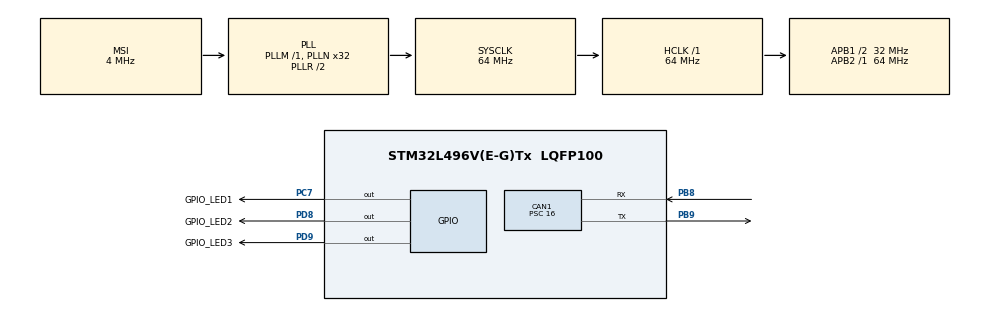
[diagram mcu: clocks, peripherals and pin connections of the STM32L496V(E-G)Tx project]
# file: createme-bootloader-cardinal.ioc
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CAN1.ABOM=ENABLE
CAN1.AWUM=DISABLE
CAN1.BS1=CAN_BS1_13TQ
CAN1.BS2=CAN_BS2_2TQ
CAN1.CalculateBaudRate=125000
CAN1.CalculateTimeBit=8000
CAN1.CalculateTimeQuantum=500.0
CAN1.Mode=CAN_MODE_NORMAL
CAN1.NART=DISABLE
CAN1.Prescaler=16
CAN1.RFLM=DISABLE
CAN1.SJW=CAN_SJW_1TQ
CAN1.TTCM=DISABLE
CAN1.TXFP=DISABLE
CRC.DefaultInitValueUse=DEFAULT_INIT_VALUE_ENABLE
CRC.DefaultPolynomialUse=DEFAULT_POLYNOMIAL_ENABLE
CRC.InputDataFormat=CRC_INPUTDATA_FORMAT_BYTES
CRC.InputDataInversionMode=CRC_INPUTDATA_INVERSION_NONE
CRC.OutputDataInversionMode=CRC_OUTPUTDATA_INVERSION_DISABLE
Mcu.Family=STM32L4
Mcu.Name=STM32L496V(E-G)Tx
Mcu.Package=LQFP100
NVIC.CAN1_RX0_IRQn=true\:0\:0\:false\:false\:true\:true\:true\:true
NVIC.CAN1_TX_IRQn=true\:0\:0\:false\:false\:true\:true\:true\:true
NVIC.PriorityGroup=NVIC_PRIORITYGROUP_4
NVIC.TIM1_TRG_COM_TIM17_IRQn=true\:0\:0\:false\:false\:true\:true\:true\:true
PA13\ (JTMS/SWDIO).Mode=Trace_Asynchronous_SW
PA13\ (JTMS/SWDIO).Signal=SYS_JTMS-SWDIO
PA14\ (JTCK/SWCLK).Mode=Trace_Asynchronous_SW
PA14\ (JTCK/SWCLK).Signal=SYS_JTCK-SWCLK
PB3\ (JTDO/TRACESWO).Mode=Trace_Asynchronous_SW
PB3\ (JTDO/TRACESWO).Signal=SYS_JTDO-SWO
PB8.Mode=CAN_Activate
PB8.Signal=CAN1_RX
PB9.Mode=CAN_Activate
PB9.Signal=CAN1_TX
PC7.GPIO_Label=GPIO_LED1
PC7.Signal=GPIO_Output
PD8.GPIO_Label=GPIO_LED2
PD8.Signal=GPIO_Output
PD9.GPIO_Label=GPIO_LED3
PD9.Signal=GPIO_Output
ProjectManager.HeapSize=0x200
ProjectManager.StackSize=0x400
ProjectManager.TargetToolchain=STM32CubeIDE
RCC.AHBFreq_Value=64000000
RCC.APB1CLKDivider=RCC_HCLK_DIV2
RCC.APB1Freq_Value=32000000
RCC.APB1TimFreq_Value=64000000
RCC.APB2Freq_Value=64000000
RCC.APB2TimFreq_Value=64000000
RCC.CortexFreq_Value=64000000
RCC.FLatency=FLASH_LATENCY_3
RCC.HCLKFreq_Value=64000000
RCC.HSE_VALUE=8000000
RCC.HSI48_VALUE=48000000
RCC.HSICalibrationValue=16
RCC.HSI_VALUE=16000000
RCC.LSE_VALUE=32768
RCC.MSI_VALUE=4000000
RCC.PLLN=32
RCC.PREFETCH_ENABLE=1
RCC.SYSCLKFreq_VALUE=64000000
RCC.SYSCLKSource=RCC_SYSCLKSOURCE_PLLCLK
RCC.VCOOutputFreq_Value=128000000
TIM17.AutoReloadPreload=TIM_AUTORELOAD_PRELOAD_ENABLE
TIM17.ClockDivision=TIM_CLOCKDIVISION_DIV2
TIM17.CounterMode=TIM_COUNTERMODE_UP
TIM17.Period=32000
TIM17.Prescaler=1
TIM17.RepetitionCounter=0
VP_CRC_VS_CRC.Mode=CRC_Activate
VP_TIM17_VS_ClockSourceINT.Mode=Enable_Timer
board=BOOT

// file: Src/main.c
/* USER CODE BEGIN Header */
/**
  ******************************************************************************
  * @file           : main.c
  * @brief          : Main program body
  ******************************************************************************
  * @attention
  *
  * Copyright (c) 2022 STMicroelectronics.
  * All rights reserved.
  *
  * This software is licensed under terms that can be found in the LICENSE file
  * in the root directory of this software component.
  * If no LICENSE file comes with this software, it is provided AS-IS.
  *
  ******************************************************************************
  */
/* USER CODE END Header */
#include "main.h"

/* USER CODE BEGIN Includes */
/*

		Flash memory organisation

       0x08100000 -> +-------------+
					 | 0x080C0000  |	\
					 |    to       |	 \
					 | 0x080FFFFF  |	  |- Reserved for checksum and other informations
					 |   256 KB    |	 /
					 | data        |	/
       0x080C0000 -> +-------------+
					 |             |	\
					 |             |	 \
					 |             |	  |
					 |             |	  |
					 | 0x08080000  |	  |
					 |    to       |	  |
					 | 0x080BFFFF  |	  |- Contain the golden image application software
					 |   256 KB    |	  |
					 | application |	  |
					 |             |	  |
					 |             |	  |
					 |             |	 /
					 |             |	/
       0x08080000 -> +-------------+
					 |             |	\
					 |             |	 \
					 |             |	  |
					 |             |	  |
					 | 0x08040000  |	  |
					 |    to       |	  |
					 | 0x0807FFFF  |	  |- Contain the application software
					 |   256 KB    |	  |
					 | application |	  |
					 |             |	  |
					 |             |	  |
					 |             |	 /
					 |             |	/
       0x08040000 -> +-------------+
					 |             |	\
					 | 0x08000000  |	 \
					 |    to       |	  |
					 | 0x08037FFF  |	  |- Contain bootloader software (this project)
					 |   256 KB    |	  |
					 | bootloader  |	 /
					 |             |	/
		0x8000000 -> +-------------+

Bootloader version 1.0.0 CRC32 = 0xC2106B18

 */
#include <string.h>
#include "btld.h"
/* USER CODE END Includes */

 CAN_HandleTypeDef hcan1;

CRC_HandleTypeDef hcrc;

TIM_HandleTypeDef htim17;

/* USER CODE BEGIN PV */
/* Private variables ---------------------------------------------------------*/

#define TRUE 1
#define FALSE 0
#define G_MAX_MS_COUNTER 4294967296

uint32_t G_mSCounter = 0;

uint8_t G_loader_mode = 0;
uint8_t G_flash_erase_CMD = 0;
uint8_t G_run_app_CMD = 0;
uint8_t G_return_CRC_CMD = 0;
uint8_t G_return_GI_CRC_CMD = 0;
uint8_t G_return_BOOT_CRC_CMD = 0;

uint8_t G_start_flash_CMD = 0;
uint8_t G_write_next_CMD = 0;
uint32_t G_uint32_to_write = 0;
uint8_t G_end_flash_CMD = 0;
uint8_t G_FlashInProgress = 0;
uint8_t G_copy_flash_CMD = 0;

uint8_t G_LedUpdate = 0;

uint32_t G_index = 0;

CAN_TxHeaderTypeDef   TxHeader;
CAN_RxHeaderTypeDef   RxHeader;
uint8_t               TxData[8];
uint8_t               RxData[8];
uint32_t              TxMailbox;

/* USER CODE END PV */

void SystemClock_Config(void);
static void MX_GPIO_Init(void);
static void MX_TIM17_Init(void);
static void MX_CAN1_Init(void);
static void MX_CRC_Init(void);
/* USER CODE BEGIN PFP */
/* Private function prototypes -----------------------------------------------*/
void config_can_filter(void);
void CAN_TX_Cplt(CAN_HandleTypeDef* phcan);

void send_confirm_msg(uint8_t status);

/* USER CODE END PFP */

int main_BTLD(void)
{

  /* MCU Configuration--------------------------------------------------------*/

  /* Reset of all peripherals, Initializes the Flash interface and the Systick. */
  HAL_Init();

  /* Configure the system clock */
  SystemClock_Config();

  /* Initialize all configured peripherals */
  MX_GPIO_Init();
  MX_TIM17_Init();
  MX_CAN1_Init();
  MX_CRC_Init();
  /* USER CODE BEGIN 2 */

  /* Configura CAN RX FILTER */
  config_can_filter();

  /* Start CAN recieve Interrupt */
  HAL_CAN_Start(&hcan1);
  HAL_CAN_ActivateNotification(&hcan1,CAN_IT_TX_MAILBOX_EMPTY |
                                      CAN_IT_RX_FIFO0_MSG_PENDING |
                                      CAN_IT_RX_FIFO0_FULL |
                                      CAN_IT_RX_FIFO0_OVERRUN |
                                      CAN_IT_ERROR);

  HAL_TIM_Base_Start_IT(&htim17); // 1mS
  /* USER CODE END 2 */

  /* Infinite loop */
  /* USER CODE BEGIN WHILE */

//    if(btld_CheckForApplication()==BL_NO_APP){
        G_loader_mode=1;
//    }

  while (1)
  {
      /* Loader Mode */
      if(G_loader_mode)
      {
          /* Erase Main App flash partition */
          if(G_flash_erase_CMD)
          {
              if (btld_EraseFlash() == HAL_OK)
              {   /* Erase Success */
                  TxData[1] = 0x01;
              }
              else
              {   /* Erase failed */
                  TxData[1] = 0xFF;
              }
              //Send CAN message to know we are in loader mode
              TxHeader.StdId = STDID_CANID + CANTX_SA;
              TxHeader.IDE = CAN_ID_STD;
              TxHeader.RTR = CAN_RTR_DATA;
              TxHeader.DLC = 2;
              TxData[0] = 0xF1;
              HAL_CAN_AddTxMessage(&hcan1, &TxHeader, TxData, &TxMailbox);

              G_flash_erase_CMD=0;
          }

          /* Run Application command */
          if(G_run_app_CMD)
          {
              if(btld_CheckForApplication()==BL_OK)
              {
                  btld_JumpToApp();
              }
              else
              {
                  //Send CAN message to know we are in loader mode
                  TxHeader.StdId = STDID_CANID + CANTX_SA;
                  TxHeader.IDE = CAN_ID_STD;
                  TxHeader.RTR = CAN_RTR_DATA;
                  TxHeader.DLC = 2;
                  TxData[0] = 0xF2;
                  TxData[1] = 0xFF;
                  HAL_CAN_AddTxMessage(&hcan1, &TxHeader, TxData, &TxMailbox);

                  G_run_app_CMD = 0;
              }
          }

          /* Calculate and send Main App CRC */
          if(G_return_CRC_CMD)
          {
              uint32_t checksum = btld_GetChecksum();

              TxHeader.StdId = STDID_CANID + CANTX_SA;
              TxHeader.IDE = CAN_ID_STD;
              TxHeader.RTR = CAN_RTR_DATA;
              TxHeader.DLC = 5;
              TxData[0] = 0xF4;
              TxData[1] = (checksum & 0xFF000000) >> 24;
              TxData[2] = (checksum & 0x00FF0000) >> 16;
              TxData[3] = (checksum & 0x0000FF00) >> 8;
              TxData[4] = (checksum & 0x000000FF);
              HAL_CAN_AddTxMessage(&hcan1, &TxHeader, TxData, &TxMailbox);

              G_return_CRC_CMD = 0;
          }

          /* Calculate and send golden image CRC */
          if (G_return_GI_CRC_CMD)
          {
              uint32_t checksum = btld_GetGIChecksum();

              TxHeader.StdId = STDID_CANID + CANTX_SA;
              TxHeader.IDE = CAN_ID_STD;
              TxHeader.RTR = CAN_RTR_DATA;
              TxHeader.DLC = 5;
              TxData[0] = 0xF9;
              TxData[1] = (checksum & 0xFF000000) >> 24;
              TxData[2] = (checksum & 0x00FF0000) >> 16;
              TxData[3] = (checksum & 0x0000FF00) >> 8;
              TxData[4] = (checksum & 0x000000FF);
              HAL_CAN_AddTxMessage(&hcan1, &TxHeader, TxData, &TxMailbox);

              G_return_GI_CRC_CMD = 0;
          }

          /* Calculate and send bootloader CRC */
          if (G_return_BOOT_CRC_CMD)
          {
              uint32_t checksum = btld_GetBootChecksum();

              TxHeader.StdId = STDID_CANID + CANTX_SA;
              TxHeader.IDE = CAN_ID_STD;
              TxHeader.RTR = CAN_RTR_DATA;
              TxHeader.DLC = 5;
              TxData[0] = 0xFA;
              TxData[1] = (checksum & 0xFF000000) >> 24;
              TxData[2] = (checksum & 0x00FF0000) >> 16;
              TxData[3] = (checksum & 0x0000FF00) >> 8;
              TxData[4] = (checksum & 0x000000FF);
              HAL_CAN_AddTxMessage(&hcan1, &TxHeader, TxData, &TxMailbox);

              G_return_BOOT_CRC_CMD = 0;
          }

          if (G_start_flash_CMD)
          {
              btld_FlashBegin();
              G_FlashInProgress = 1;
              /* Send success */
              TxHeader.StdId = STDID_CANID + CANTX_SA;
              TxHeader.IDE = CAN_ID_STD;
              TxHeader.RTR = CAN_RTR_DATA;
              TxHeader.DLC = 2;
              TxData[0] = 0xF5;
              TxData[1] = 0x00;
              HAL_CAN_AddTxMessage(&hcan1, &TxHeader, TxData, &TxMailbox);

              G_start_flash_CMD = 0;
          }

          if (G_end_flash_CMD && G_FlashInProgress)
          {

              btld_FlashEnd();
              G_FlashInProgress = 0;
              /* Send success */
              TxHeader.StdId = STDID_CANID + CANTX_SA;
              TxHeader.IDE = CAN_ID_STD;
              TxHeader.RTR = CAN_RTR_DATA;
              TxHeader.DLC = 2;
              TxData[0] = 0xF5;
              TxData[1] = 0x00;
              HAL_CAN_AddTxMessage(&hcan1, &TxHeader, TxData, &TxMailbox);

              G_end_flash_CMD = 0;
          }

          /* copy golden image to Main App parition */
          if (G_copy_flash_CMD)
          {
              if (btld_CopyFlash() == HAL_OK)
              {   /* copy Success */
                  TxData[1] = 0x01;
              }
              else
              {   /* copy failed */
                  TxData[1] = 0xFF;
              }
              //Send CAN message to know we are in loader mode
              TxHeader.StdId = STDID_CANID + CANTX_SA;
              TxHeader.IDE = CAN_ID_STD;
              TxHeader.RTR = CAN_RTR_DATA;
              TxHeader.DLC = 2;
              TxData[0] = 0xF8;
              HAL_CAN_AddTxMessage(&hcan1, &TxHeader, TxData, &TxMailbox);

              G_copy_flash_CMD = 0;
          }

          // LED CONTROL
          if (G_LedUpdate)
          {
              HAL_GPIO_TogglePin(GPIO_LED1_GPIO_Port, GPIO_LED1_Pin);

              G_LedUpdate = 0;
          }
      }
      else
      {
          /* Jump to app if timeout*/
          if(G_mSCounter > 50)
          {
              if (btld_CheckForApplication() == BL_OK)
              {
                  btld_JumpToApp();
              }
              else
              {
                  btld_JumpToGoldenImage();
              }
          }
      }

    /* USER CODE END WHILE */

  }
}

void SystemClock_Config(void)
{
  RCC_OscInitTypeDef RCC_OscInitStruct = {0};
  RCC_ClkInitTypeDef RCC_ClkInitStruct = {0};

  /** Configure the main internal regulator output voltage
  */
  if (HAL_PWREx_ControlVoltageScaling(PWR_REGULATOR_VOLTAGE_SCALE1) != HAL_OK)
  {
    Error_Handler();
  }

  /** Initializes the RCC Oscillators according to the specified parameters
  * in the RCC_OscInitTypeDef structure.
  */
  RCC_OscInitStruct.OscillatorType = RCC_OSCILLATORTYPE_MSI;
  RCC_OscInitStruct.MSIState = RCC_MSI_ON;
  RCC_OscInitStruct.MSICalibrationValue = 0;
  RCC_OscInitStruct.MSIClockRange = RCC_MSIRANGE_6;
  RCC_OscInitStruct.PLL.PLLState = RCC_PLL_ON;
  RCC_OscInitStruct.PLL.PLLSource = RCC_PLLSOURCE_MSI;
  RCC_OscInitStruct.PLL.PLLM = 1;
  RCC_OscInitStruct.PLL.PLLN = 32;
  RCC_OscInitStruct.PLL.PLLP = RCC_PLLP_DIV2;
  RCC_OscInitStruct.PLL.PLLQ = RCC_PLLQ_DIV2;
  RCC_OscInitStruct.PLL.PLLR = RCC_PLLR_DIV2;
  if (HAL_RCC_OscConfig(&RCC_OscInitStruct) != HAL_OK)
  {
    Error_Handler();
  }

  /** Initializes the CPU, AHB and APB buses clocks
  */
  RCC_ClkInitStruct.ClockType = RCC_CLOCKTYPE_HCLK|RCC_CLOCKTYPE_SYSCLK
                              |RCC_CLOCKTYPE_PCLK1|RCC_CLOCKTYPE_PCLK2;
  RCC_ClkInitStruct.SYSCLKSource = RCC_SYSCLKSOURCE_PLLCLK;
  RCC_ClkInitStruct.AHBCLKDivider = RCC_SYSCLK_DIV1;
  RCC_ClkInitStruct.APB1CLKDivider = RCC_HCLK_DIV2;
  RCC_ClkInitStruct.APB2CLKDivider = RCC_HCLK_DIV1;

  if (HAL_RCC_ClockConfig(&RCC_ClkInitStruct, FLASH_LATENCY_3) != HAL_OK)
  {
    Error_Handler();
  }
}

static void MX_CAN1_Init(void)
{

  hcan1.Instance = CAN1;
  hcan1.Init.Prescaler = 16;
  hcan1.Init.Mode = CAN_MODE_NORMAL;
  hcan1.Init.SyncJumpWidth = CAN_SJW_1TQ;
  hcan1.Init.TimeSeg1 = CAN_BS1_13TQ;
  hcan1.Init.TimeSeg2 = CAN_BS2_2TQ;
  hcan1.Init.TimeTriggeredMode = DISABLE;
  hcan1.Init.AutoBusOff = ENABLE;
  hcan1.Init.AutoWakeUp = DISABLE;
  hcan1.Init.AutoRetransmission = DISABLE;
  hcan1.Init.ReceiveFifoLocked = DISABLE;
  hcan1.Init.TransmitFifoPriority = DISABLE;
  if (HAL_CAN_Init(&hcan1) != HAL_OK)
  {
    Error_Handler();
  }

}

static void MX_CRC_Init(void)
{

  hcrc.Instance = CRC;
  hcrc.Init.DefaultPolynomialUse = DEFAULT_POLYNOMIAL_ENABLE;
  hcrc.Init.DefaultInitValueUse = DEFAULT_INIT_VALUE_ENABLE;
  hcrc.Init.InputDataInversionMode = CRC_INPUTDATA_INVERSION_NONE;
  hcrc.Init.OutputDataInversionMode = CRC_OUTPUTDATA_INVERSION_DISABLE;
  hcrc.InputDataFormat = CRC_INPUTDATA_FORMAT_BYTES;
  if (HAL_CRC_Init(&hcrc) != HAL_OK)
  {
    Error_Handler();
  }

}

static void MX_TIM17_Init(void)
{

  htim17.Instance = TIM17;
  htim17.Init.Prescaler = 1;
  htim17.Init.CounterMode = TIM_COUNTERMODE_UP;
  htim17.Init.Period = 32000;
  htim17.Init.ClockDivision = TIM_CLOCKDIVISION_DIV2;
  htim17.Init.RepetitionCounter = 0;
  htim17.Init.AutoReloadPreload = TIM_AUTORELOAD_PRELOAD_ENABLE;
  if (HAL_TIM_Base_Init(&htim17) != HAL_OK)
  {
    Error_Handler();
  }

}

static void MX_GPIO_Init(void)
{
  GPIO_InitTypeDef GPIO_InitStruct = {0};

  /* GPIO Ports Clock Enable */
  __HAL_RCC_GPIOD_CLK_ENABLE();
  __HAL_RCC_GPIOC_CLK_ENABLE();
  __HAL_RCC_GPIOA_CLK_ENABLE();
  __HAL_RCC_GPIOB_CLK_ENABLE();

  /*Configure GPIO pin Output Level */
  HAL_GPIO_WritePin(GPIOD, GPIO_LED2_Pin|GPIO_LED3_Pin, GPIO_PIN_RESET);

  /*Configure GPIO pin Output Level */
  HAL_GPIO_WritePin(GPIO_LED1_GPIO_Port, GPIO_LED1_Pin, GPIO_PIN_RESET);

  /*Configure GPIO pins : GPIO_LED2_Pin GPIO_LED3_Pin */
  GPIO_InitStruct.Pin = GPIO_LED2_Pin|GPIO_LED3_Pin;
  GPIO_InitStruct.Mode = GPIO_MODE_OUTPUT_PP;
  GPIO_InitStruct.Pull = GPIO_NOPULL;
  GPIO_InitStruct.Speed = GPIO_SPEED_FREQ_LOW;
  HAL_GPIO_Init(GPIOD, &GPIO_InitStruct);

  /*Configure GPIO pin : GPIO_LED1_Pin */
  GPIO_InitStruct.Pin = GPIO_LED1_Pin;
  GPIO_InitStruct.Mode = GPIO_MODE_OUTPUT_PP;
  GPIO_InitStruct.Pull = GPIO_NOPULL;
  GPIO_InitStruct.Speed = GPIO_SPEED_FREQ_LOW;
  HAL_GPIO_Init(GPIO_LED1_GPIO_Port, &GPIO_InitStruct);

}

/* USER CODE BEGIN 4 */
/* Interrupt callback functions-----------------------------------------------*/

/* HAL_TIM_PeriodElapsedCallback ---------------------------------------------*/
/* Interrupt callback to manage timer interrupts							  */
/* htim19 1ms																  */
/*----------------------------------------------------------------------------*/
void HAL_TIM_PeriodElapsedCallback(TIM_HandleTypeDef *htim)
{

    /* htim17 1ms */
    if (&htim17 == htim)
    {
        static uint16_t cpt2 = 0;

        G_mSCounter++;

        if(G_mSCounter % 100 == 0)
        {
            G_LedUpdate = 1;
        }

        if(G_mSCounter >= G_MAX_MS_COUNTER)
        {
            G_mSCounter = 0;
        }

        /* 1 sec, CAN heartbeat */
        if (++cpt2 >= 1000)
        {
            if (G_loader_mode)
            {
                //Send CAN message to know we are in loader mode
                TxHeader.StdId = STDID_CANID + CANTX_SA;
                TxHeader.IDE = CAN_ID_STD;
                TxHeader.RTR = CAN_RTR_DATA;
                TxHeader.DLC = 1;
                TxData[0] = 0x0F;
                HAL_CAN_AddTxMessage(&hcan1, &TxHeader, TxData, &TxMailbox);
            }
            cpt2 = 0;
        }

    }
}

void HAL_CAN_ErrorCallback(CAN_HandleTypeDef *phcan){
    //uint32_t transmitmailbox;
    int retry=0;

    if((phcan->ErrorCode & HAL_CAN_ERROR_TX_ALST0) || (phcan->ErrorCode & HAL_CAN_ERROR_TX_TERR0)){
        HAL_CAN_AbortTxRequest(phcan,CAN_TX_MAILBOX0);
        retry=1;
    }
    if((phcan->ErrorCode & HAL_CAN_ERROR_TX_ALST1) || (phcan->ErrorCode & HAL_CAN_ERROR_TX_TERR1)){
        HAL_CAN_AbortTxRequest(phcan,CAN_TX_MAILBOX1);
        retry=1;
    }
    if((phcan->ErrorCode & HAL_CAN_ERROR_TX_ALST2) || (phcan->ErrorCode & HAL_CAN_ERROR_TX_TERR2)){
        HAL_CAN_AbortTxRequest(phcan,CAN_TX_MAILBOX2);
        retry=1;
    }

    HAL_CAN_ResetError(phcan);

    if(retry==1){
        HAL_CAN_DeactivateNotification(phcan,CAN_IT_TX_MAILBOX_EMPTY);
        HAL_CAN_ActivateNotification(phcan,CAN_IT_TX_MAILBOX_EMPTY);
        //HAL_CAN_AddTxMessage(phcan,&(CanTxList.SendMsgBuff.header),CanTxList.SendMsgBuff.Data,&transmitmailbox);
    }
}

/* HAL_CAN_TxCpltCallback ----------------------------------------------------*/
/* Interrupt callback to manage Can Tx Ready                                  */
/*----------------------------------------------------------------------------*/
void HAL_CAN_TxMailbox0CompleteCallback(CAN_HandleTypeDef* phcan){
    CAN_TX_Cplt(phcan);
}
void HAL_CAN_TxMailbox1CompleteCallback(CAN_HandleTypeDef* phcan){
    CAN_TX_Cplt(phcan);
}
void HAL_CAN_TxMailbox2CompleteCallback(CAN_HandleTypeDef* phcan){
    CAN_TX_Cplt(phcan);
}

void CAN_TX_Cplt(CAN_HandleTypeDef* phcan){

}

/* HAL_CAN_RxCpltCallback ----------------------------------------------------*/
/* Interrupt callback to manage Can Rx message ready to read                  */
/*----------------------------------------------------------------------------*/
void HAL_CAN_RxFifo0MsgPendingCallback(CAN_HandleTypeDef* phcan){

    CAN_RxHeaderTypeDef rxheader;
    uint8_t data[8];

    HAL_CAN_GetRxMessage(phcan,CAN_RX_FIFO0,&rxheader,data);

    /* Low level Can management ----------------------------------------------*/
    if(rxheader.StdId==(STDID_CANID + CANRX_SA) && rxheader.IDE==CAN_ID_STD)
    {
        if (data[0] == 0xF0)
        {
            G_loader_mode = 1;
        }
        if (data[0] == 0xF1 && G_loader_mode == 1)
        {
            G_flash_erase_CMD=1;
        }
        if (data[0] == 0xF2 && G_loader_mode == 1)
        {
            G_run_app_CMD = 1;
        }
        if (data[0] == 0xF3 && G_loader_mode == 1)
        {
            /* Send the available App size in bytes */
            uint32_t app_size = APP_SIZE;

            /* Send Available flash size for application */
            TxHeader.StdId = STDID_CANID + CANTX_SA;
            TxHeader.IDE = CAN_ID_STD;
            TxHeader.RTR = CAN_RTR_DATA;
            TxHeader.DLC = 5;
            TxData[0] = 0xF3;
            TxData[1] = (app_size & 0xFF000000) >> 24;
            TxData[2] = (app_size & 0x00FF0000) >> 16;
            TxData[3] = (app_size & 0x0000FF00) >> 8;
            TxData[4] = (app_size & 0x000000FF);
            HAL_CAN_AddTxMessage(&hcan1, &TxHeader, TxData, &TxMailbox);
        }
        if (data[0] == 0xF4 && G_loader_mode == 1)
        {
            G_return_CRC_CMD = 1;
        }
        if (data[0] == 0xF5 && G_loader_mode == 1)
        {
            G_index = 0;
            G_start_flash_CMD = 1;
        }
        if (data[0] == 0xF6 && G_loader_mode == 1 && rxheader.DLC >= 5)
        {
            G_write_next_CMD = 1;
            G_uint32_to_write = (((uint32_t) data[1]))
                                | (((uint32_t) data[2]) << 8) | (((uint32_t) data[3]) << 16)
                                | (((uint32_t) data[4]) << 24);

            HAL_CAN_DeactivateNotification(&hcan1, CAN_IT_RX_FIFO0_MSG_PENDING);
            HAL_TIM_Base_Stop_IT(&htim17);

//            if (G_index == ((((uint32_t) data[5]) | ((uint32_t) data[6]) << 8)) * 4)
            {
                if (btld_FlashNext_32(G_uint32_to_write, &G_index) == BL_OK)
                {
                    G_write_next_CMD = 0;
                    /* Send success */
                    send_confirm_msg(0x01);
                }
                else
                {
                    /* Send failure */
                    send_confirm_msg(0xFF);

                    G_write_next_CMD = 0;
                    btld_FlashEnd();
                    G_FlashInProgress = 0;
                }
            }
//            else
//            {
//                G_write_next_CMD = 0;
//                /* Send success */
//                send_confirm_msg(0x01);
//            }
            HAL_TIM_Base_Start_IT(&htim17);
            HAL_CAN_ActivateNotification(&hcan1, CAN_IT_RX_FIFO0_MSG_PENDING);
        }
        if (data[0] == 0xF7 && G_loader_mode == 1)
        {
            G_end_flash_CMD = 1;
        }
        if (data[0] == 0xF8 && G_loader_mode == 1)
        {
            G_copy_flash_CMD = 1;
        }
        if (data[0] == 0xF9 && G_loader_mode == 1)
        {
            G_return_GI_CRC_CMD = 1;
        }
        if (data[0] == 0xFA && G_loader_mode == 1)
        {
            G_return_BOOT_CRC_CMD = 1;
        }
#if READ_PROTECT
//        if (data[0] == 0xF8 && data[1] == 0xEF && data[2] == 0xFE
//				&& data[3] == 0x40 && data[4] == 0x20) {
//			/*Disable READ/WRITE protection*/
//			btld_ConfigProtection(BL_PROTECTION_NONE);
//
//		}
//		if (data[0] == 0xF9 && data[1] == 0xEF && data[2] == 0xFE
//				&& data[3] == 0x40 && data[4] == 0x20) {
//			/*Enable READ/WRITE protection*/
//			btld_ConfigProtection(BL_PROTECTION_RDP);
//
//		}
#endif
    }
}

void config_can_filter(void){
    CAN_FilterTypeDef sFilterConfig;

    /* Leave mask bits for different messages commands
    |  	  	  	  	  	  	  	  	  	  	  	  	 */
//    uint32_t filterMask=	RXFILTERMASK;
//    uint32_t filterID=	RXFILTERID; // Only accept bootloader CAN message ID

    /*##-2- Configure the CAN Filter ###########################################*/
    //sFilterConfig.FilterNumber = 0;
    sFilterConfig.FilterMode = CAN_FILTERMODE_IDMASK;
    sFilterConfig.FilterScale = CAN_FILTERSCALE_32BIT;
    sFilterConfig.FilterIdHigh = 00;//filterID >> 13;
    sFilterConfig.FilterIdLow = 00;//(0x00FF & (filterID << 3)) | (1 << 2);
    sFilterConfig.FilterMaskIdHigh = 00;//filterMask >> 13;
    sFilterConfig.FilterMaskIdLow = 00;//(0x00FF & (filterMask << 3)) | (1 << 2);
    sFilterConfig.FilterFIFOAssignment = CAN_RX_FIFO0;
    sFilterConfig.FilterActivation = ENABLE;
    sFilterConfig.FilterBank = 0;
    if (HAL_CAN_ConfigFilter(&hcan1, &sFilterConfig) != HAL_OK)
    {
        Error_Handler();
    }
}

void send_confirm_msg(uint8_t status){
    uint16_t index;

    index = G_index / 4;

    TxHeader.StdId = STDID_CANID + CANTX_SA;
    TxHeader.IDE = CAN_ID_STD;
    TxHeader.RTR = CAN_RTR_DATA;
    TxHeader.DLC = 4;
    TxData[0] = 0xF6;
    TxData[1] = status;	//0x01 = Success, 0xFF = failed
    TxData[2] = index & 0x00FF;
    TxData[3] = (index & 0xFF00) >> 8;

    HAL_CAN_AddTxMessage(&hcan1, &TxHeader, TxData, &TxMailbox);
}
/* USER CODE END 4 */

void Error_Handler(void)
{
  __disable_irq();
  while (1)
  {
  }
}
